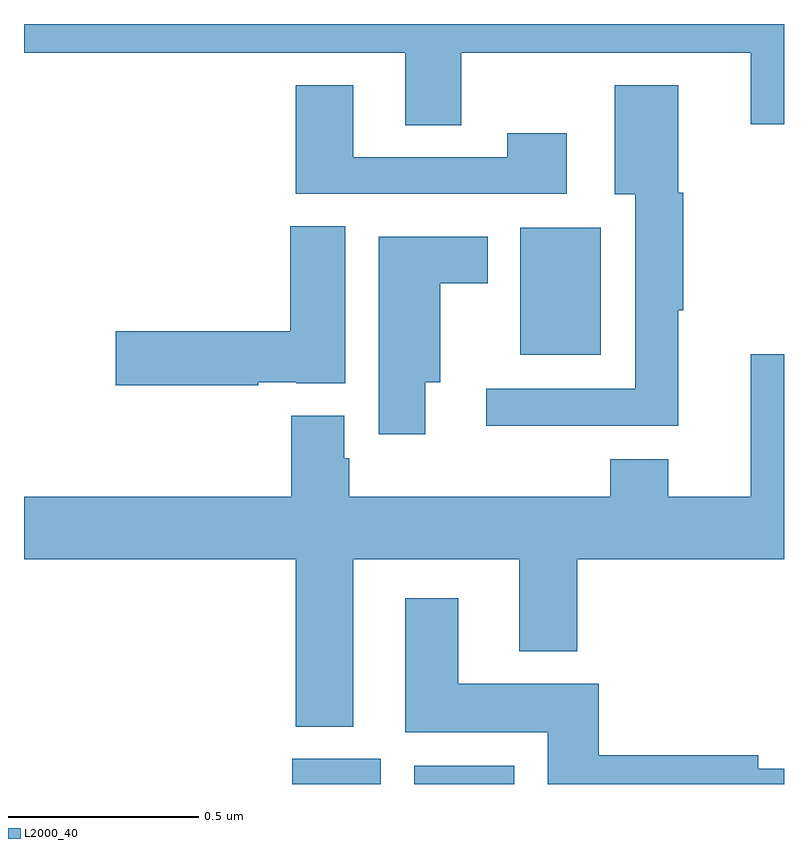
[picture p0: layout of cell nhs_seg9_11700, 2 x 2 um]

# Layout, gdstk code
import gdstk
lib = gdstk.Library(unit=1e-6, precision=1e-09)
def R(c, l, rs):  # rectangles x0, y0, x1, y1
    for r in rs: c.add(gdstk.rectangle(r[:2], r[2:], *l))
def P(c, l, *ps):  # polygons
    for p in ps: c.add(gdstk.Polygon(p, *l))
L2000_40 = (2000, 40)

nhs_seg9_11700 = lib.new_cell('nhs_seg9_11700')
R(nhs_seg9_11700, L2000_40, [(259.706,1190.5,259.939,1190.566), (260.027,1190.5,260.29,1190.548), (260.306,1191.629,260.518,1191.964)])
P(nhs_seg9_11700, L2000_40, [(260.151,1192.424),(260.912,1192.424),(260.912,1192.236),(261,1192.236),(261,1192.5),(259,1192.5),(259,1192.424),(260.003,1192.424),(260.003,1192.234),(260.151,1192.234)],
  [(260.428,1192.213),(260.272,1192.213),(260.272,1192.149),(259.867,1192.149),(259.867,1192.339),(259.715,1192.339),(259.715,1192.053),(260.428,1192.053)],
  [(260.722,1191.747),(260.735,1191.747),(260.735,1192.056),(260.722,1192.056),(260.722,1192.339),(260.555,1192.339),(260.555,1192.052),(260.609,1192.052),(260.609,1191.54),(260.217,1191.54),(260.217,1191.443),(260.722,1191.443)],
  [(259.616,1191.557),(259.716,1191.557),(259.716,1191.554),(259.846,1191.554),(259.846,1191.968),(259.7,1191.968),(259.7,1191.692),(259.242,1191.692),(259.242,1191.55),(259.616,1191.55)],
  [(260.056,1191.557),(260.095,1191.557),(260.095,1191.818),(260.221,1191.818),(260.221,1191.94),(259.934,1191.94),(259.934,1191.42),(260.056,1191.42)],
  [(259.867,1191.092),(260.303,1191.092),(260.303,1190.849),(260.456,1190.849),(260.456,1191.092),(261,1191.092),(261,1191.631),(260.912,1191.631),(260.912,1191.256),(260.695,1191.256),(260.695,1191.355),(260.543,1191.355),(260.543,1191.256),(259.856,1191.256),(259.856,1191.357),(259.843,1191.357),(259.843,1191.469),(259.703,1191.469),(259.703,1191.256),(259,1191.256),(259,1191.092),(259.715,1191.092),(259.715,1190.651),(259.867,1190.651)],
  [(261,1190.54),(260.932,1190.54),(260.932,1190.576),(260.513,1190.576),(260.513,1190.764),(260.143,1190.764),(260.143,1190.989),(260.003,1190.989),(260.003,1190.636),(260.378,1190.636),(260.378,1190.5),(261,1190.5)])

lib.write_gds('nhs_seg9_11700.gds')
